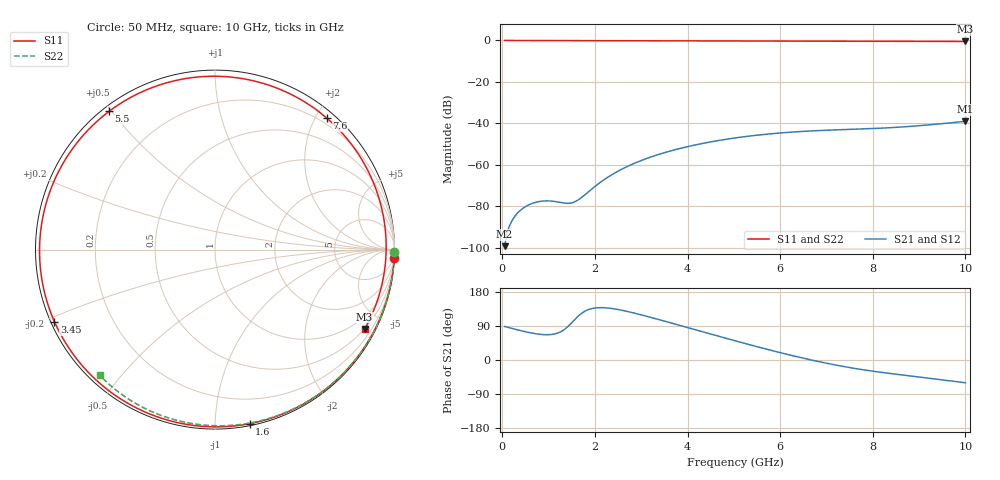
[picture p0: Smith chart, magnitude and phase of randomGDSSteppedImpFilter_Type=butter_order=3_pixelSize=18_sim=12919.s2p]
! freq	dB(S11)	phase(S11)	dB(S12)	phase(S12)
!  dB(S21)	phase(S21)	dB(S22)	phase(S22)
!S-par simulation data
#  GHz  S  DB  R 50
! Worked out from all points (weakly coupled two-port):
!   200 points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, 50 MHz to 10 GHz, reference 50 ohm
!   highest |S21| = -38.98 dB at 10 GHz (marker M1); lowest = -99.2 dB at 50 MHz (marker M2)
!   lowest |S11| = -0.5 dB at 10 GHz (marker M3), VSWR 34.49, Z = 24.5 - j198 ohm
!   |S11| at or under -10 dB: nowhere
!   |S22| runs from -0.4 to 0.0 dB; largest |S21 - S12| = 0
!   S11 on the Smith chart (normalised r, x): 50 MHz: 0, -44; 1.6 GHz: 0.01, -1.22; 3.45 GHz: 0.01, -0.21; 5.5 GHz: 0.02, +0.49; 7.6 GHz: 0.11, +2.16; 10 GHz: 0.49, -3.96
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0.05  -0.00 -2.6  -99.18 88.4  -99.18 88.4  -0.00 -0.8
0.5  -0.04 -25.5  -80.12 74.6  -80.12 74.6  -0.01 -7.6
0.9  -0.06 -45.5  -77.39 66.9  -77.39 66.9  -0.02 -13.7
1.4  -0.08 -69.5  -78.53 86.5  -78.53 86.5  -0.03 -21.2
1.6  -0.09 -78.7  -77.41 111.3  -77.41 111.3  -0.03 -24.2
1.75  -0.10 -85.5  -75.03 126.4  -75.03 126.4  -0.03 -26.4
2.1  -0.12 -101.0  -68.70 138.2  -68.70 138.2  -0.04 -31.5
2.5  -0.13 -117.9  -63.02 133.2  -63.02 133.2  -0.05 -37.4
2.95  -0.15 -136.2  -58.33 120.7  -58.33 120.7  -0.06 -43.9
3.4  -0.17 -153.9  -54.79 106.0  -54.79 106.0  -0.07 -50.2
3.45  -0.17 -155.8  -54.44 104.4  -54.44 104.4  -0.07 -50.9
3.85  -0.19 -171.1  -52.00 90.8  -52.00 90.8  -0.08 -56.5
4.25  -0.20 173.9  -49.98 77.0  -49.98 77.0  -0.09 -62.0
5.05  -0.24 144.2  -46.93 49.9  -46.93 49.9  -0.11 -72.7
5.5  -0.26 127.4  -45.67 35.1  -45.67 35.1  -0.13 -78.6
6.1  -0.29 105.0  -44.43 16.4  -44.43 16.4  -0.15 -86.2
6.7  -0.31 82.6  -43.59 -0.7  -43.59 -0.7  -0.18 -93.7
7.15  -0.32 66.0  -43.14 -12.1  -43.14 -12.1  -0.21 -99.2
7.6  -0.34 49.6  -42.79 -22.0  -42.79 -22.0  -0.23 -104.6
8.35  -0.37 23.3  -42.09 -35.2  -42.09 -35.2  -0.29 -113.5
9.15  -0.42 -2.8  -40.83 -47.0  -40.83 -47.0  -0.36 -122.8
10  -0.50 -28.0  -38.98 -60.0  -38.98 -60.0  -0.44 -132.5
